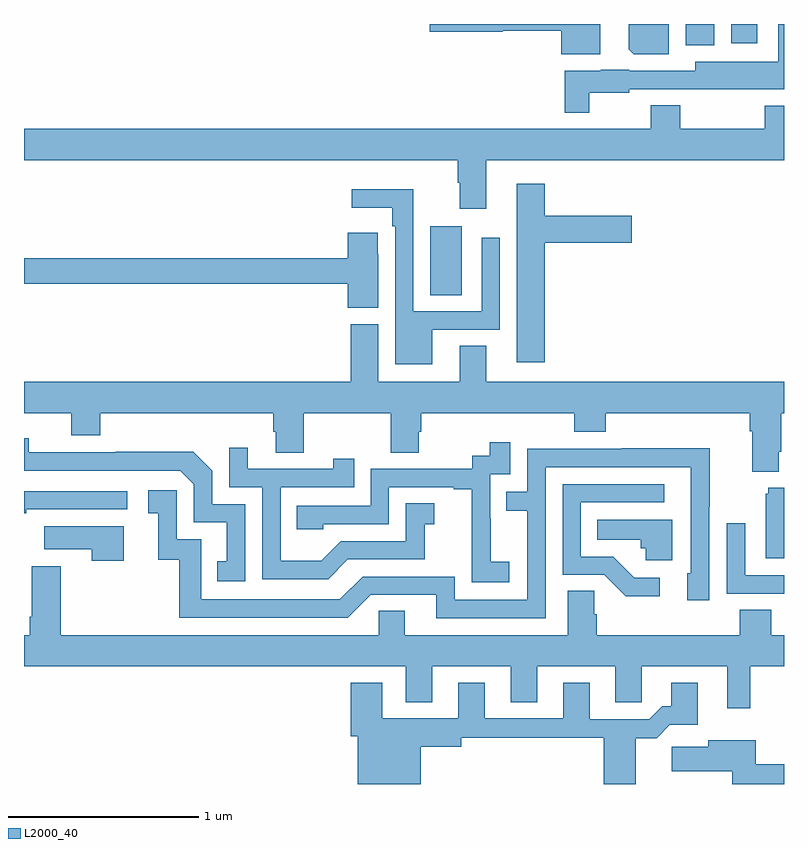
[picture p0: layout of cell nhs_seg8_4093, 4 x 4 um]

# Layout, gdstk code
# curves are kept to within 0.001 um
import gdstk
lib = gdstk.Library(unit=1e-6, precision=1e-09)
def R(c, l, rs):  # rectangles x0, y0, x1, y1
    for r in rs: c.add(gdstk.rectangle(r[:2], r[2:], *l))
def P(c, l, *ps):  # polygons
    for p in ps: c.add(gdstk.Polygon(p, *l))
L2000_40 = (2000, 40)

nhs_seg8_4093 = lib.new_cell('nhs_seg8_4093')
R(nhs_seg8_4093, L2000_40, [(365.138,1098.472,365.305,1098.835), (366.482,1099.787,366.634,1099.9), (366.722,1099.8,366.859,1099.9)])
P(nhs_seg8_4093, L2000_40, [(366.394,1099.9),(366.182,1099.9),(366.182,1099.768),(366.208,1099.742),(366.394,1099.742)],
  [(365.974,1099.538),(366.186,1099.538),(366.186,1099.557),(366.637,1099.557),(366.637,1099.556),(367,1099.556),(367,1099.9),(366.969,1099.9),(366.969,1099.702),(366.533,1099.702),(366.533,1099.653),(366.186,1099.653),(366.186,1099.66),(366.036,1099.66),(366.036,1099.654),(365.845,1099.654),(365.845,1099.433),(365.974,1099.433)],
  [(366.034,1099.9),(365.136,1099.9),(365.136,1099.859),(365.52,1099.859),(365.52,1099.864),(365.828,1099.864),(365.828,1099.742),(366.034,1099.742)],
  [(365.434,1099.184),(367,1099.184),(367,1099.471),(366.898,1099.471),(366.898,1099.348),(366.453,1099.348),(366.453,1099.472),(366.298,1099.472),(366.298,1099.348),(363,1099.348),(363,1099.184),(365.282,1099.184),(365.282,1099.064),(365.294,1099.064),(365.294,1098.927),(365.434,1098.927)],
  [(365.741,1098.749),(366.199,1098.749),(366.199,1098.891),(365.741,1098.891),(365.741,1099.06),(365.594,1099.06),(365.594,1098.12),(365.741,1098.12)],
  [(365.149,1098.291),(365.505,1098.291),(365.505,1098.775),(365.409,1098.775),(365.409,1098.387),(365.049,1098.387),(365.049,1099.03),(364.725,1099.03),(364.725,1098.932),(364.937,1098.932),(364.937,1098.836),(364.953,1098.836),(364.953,1098.11),(365.149,1098.11)],
  [(364.864,1098.689),(364.863,1098.689),(364.863,1098.802),(364.703,1098.802),(364.703,1098.668),(363,1098.668),(363,1098.532),(364.703,1098.532),(364.703,1098.406),(364.864,1098.406)],
  [(366.973,1097.65),(366.986,1097.65),(366.986,1097.852),(367,1097.852),(367,1098.016),(365.434,1098.016),(365.434,1098.206),(365.294,1098.206),(365.294,1098.016),(364.864,1098.016),(364.864,1098.321),(364.721,1098.321),(364.721,1098.016),(363,1098.016),(363,1097.852),(363.248,1097.852),(363.248,1097.735),(363.401,1097.735),(363.401,1097.852),(364.313,1097.852),(364.313,1097.754),(364.325,1097.754),(364.325,1097.644),(364.473,1097.644),(364.473,1097.852),(364.93,1097.852),(364.93,1097.644),(365.077,1097.644),(365.077,1097.754),(365.09,1097.754),(365.09,1097.852),(365.897,1097.852),(365.897,1097.753),(366.062,1097.753),(366.062,1097.852),(366.821,1097.852),(366.821,1097.756),(366.833,1097.756),(366.833,1097.543),(366.973,1097.543)],
  [(364.164,1097.373),(363.99,1097.373),(363.99,1097.55),(363.892,1097.648),(363.484,1097.648),(363.484,1097.646),(363.024,1097.646),(363.024,1097.719),(363,1097.719),(363,1097.55),(363.822,1097.55),(363.894,1097.478),(363.894,1097.277),(364.067,1097.277),(364.067,1097.073),(364.018,1097.073),(364.018,1096.968),(364.164,1096.968)],
  [(365.554,1097.071),(365.456,1097.071),(365.456,1097.3),(365.454,1097.3),(365.454,1097.529),(365.559,1097.529),(365.559,1097.698),(365.451,1097.698),(365.451,1097.628),(365.358,1097.628),(365.358,1097.559),(364.824,1097.559),(364.824,1097.364),(364.435,1097.364),(364.435,1097.241),(364.575,1097.241),(364.575,1097.268),(364.92,1097.268),(364.92,1097.463),(365.261,1097.463),(365.261,1097.451),(365.357,1097.451),(365.357,1097.167),(365.356,1097.167),(365.356,1096.961),(365.554,1096.961)],
  [(364.705,1097.082),(365.109,1097.082),(365.109,1097.267),(365.158,1097.267),(365.158,1097.377),(365.01,1097.377),(365.01,1097.178),(364.668,1097.178),(364.564,1097.074),(364.35,1097.074),(364.35,1097.463),(364.739,1097.463),(364.739,1097.611),(364.628,1097.611),(364.628,1097.559),(364.177,1097.559),(364.177,1097.671),(364.08,1097.671),(364.08,1097.463),(364.254,1097.463),(364.254,1096.977),(364.6,1096.977)],
  [(365.745,1097.568),(366.509,1097.568),(366.51,1097.01),(366.491,1097.01),(366.491,1096.866),(366.606,1096.866),(366.606,1097.359),(366.609,1097.359),(366.609,1097.666),(366.145,1097.666),(366.145,1097.664),(365.649,1097.664),(365.649,1097.439),(365.539,1097.439),(365.539,1097.338),(365.649,1097.338),(365.649,1096.869),(365.268,1096.869),(365.268,1096.992),(364.782,1096.992),(364.662,1096.872),(363.933,1096.872),(363.933,1097.187),(363.804,1097.187),(363.804,1097.446),(363.654,1097.446),(363.654,1097.325),(363.707,1097.325),(363.707,1097.079),(363.817,1097.079),(363.817,1096.776),(364.704,1096.776),(364.824,1096.896),(365.171,1096.896),(365.171,1096.773),(365.745,1096.773)],
  [(366.346,1096.986),(366.211,1096.986),(366.1,1097.097),(365.931,1097.097),(365.931,1097.382),(366.37,1097.382),(366.37,1097.478),(365.835,1097.478),(365.835,1097.001),(366.054,1097.001),(366.167,1096.889),(366.346,1096.889)],
  [(367,1097.458),(366.917,1097.458),(366.917,1097.427),(366.905,1097.427),(366.905,1097.087),(367,1097.087)],
  [(363.011,1097.346),(363.544,1097.346),(363.544,1097.442),(363,1097.442),(363,1097.326),(363.011,1097.326)],
  [(366.412,1097.29),(366.016,1097.29),(366.016,1097.186),(366.247,1097.186),(366.247,1097.142),(366.273,1097.142),(366.273,1097.078),(366.412,1097.078)],
  [(367,1096.998),(366.795,1096.998),(366.795,1097.272),(366.699,1097.272),(366.699,1096.902),(367,1096.902)],
  [(363.526,1097.257),(363.107,1097.257),(363.107,1097.135),(363.356,1097.135),(363.356,1097.076),(363.526,1097.076)],
  [(364.866,1096.811),(364.866,1096.684),(363.194,1096.684),(363.194,1097.047),(363.041,1097.047),(363.041,1096.78),(363.029,1096.78),(363.029,1096.684),(363,1096.684),(363,1096.52),(365.009,1096.52),(365.009,1096.331),(365.149,1096.331),(365.149,1096.52),(365.561,1096.52),(365.561,1096.33),(365.701,1096.33),(365.701,1096.52),(366.113,1096.52),(366.113,1096.33),(366.252,1096.33),(366.252,1096.52),(366.701,1096.52),(366.701,1096.299),(366.823,1096.299),(366.823,1096.52),(367,1096.52),(367,1096.684),(366.932,1096.684),(366.932,1096.817),(366.767,1096.817),(366.767,1096.684),(366.014,1096.684),(366.014,1096.793),(366,1096.793),(366,1096.916),(365.861,1096.916),(365.861,1096.684),(365.005,1096.684),(365.005,1096.811)],
  [(365.089,1096.097),(365.302,1096.097),(365.302,1096.144),(366.05,1096.144),(366.05,1095.9),(366.22,1095.9),(366.22,1096.142),(366.329,1096.142),(366.398,1096.211),(366.547,1096.211),(366.547,1096.432),(366.407,1096.432),(366.407,1096.309),(366.358,1096.309),(366.291,1096.242),(365.977,1096.242),(365.977,1096.432),(365.837,1096.432),(365.837,1096.245),(365.425,1096.245),(365.425,1096.432),(365.285,1096.432),(365.285,1096.246),(364.885,1096.246),(364.885,1096.432),(364.721,1096.432),(364.721,1096.152),(364.757,1096.152),(364.757,1095.9),(365.089,1095.9)],
  [(367,1096.004),(366.851,1096.004),(366.851,1096.129),(366.602,1096.129),(366.602,1096.097),(366.408,1096.097),(366.408,1095.968),(366.728,1095.968),(366.728,1095.9),(367,1095.9)])

lib.write_gds('nhs_seg8_4093.gds')
